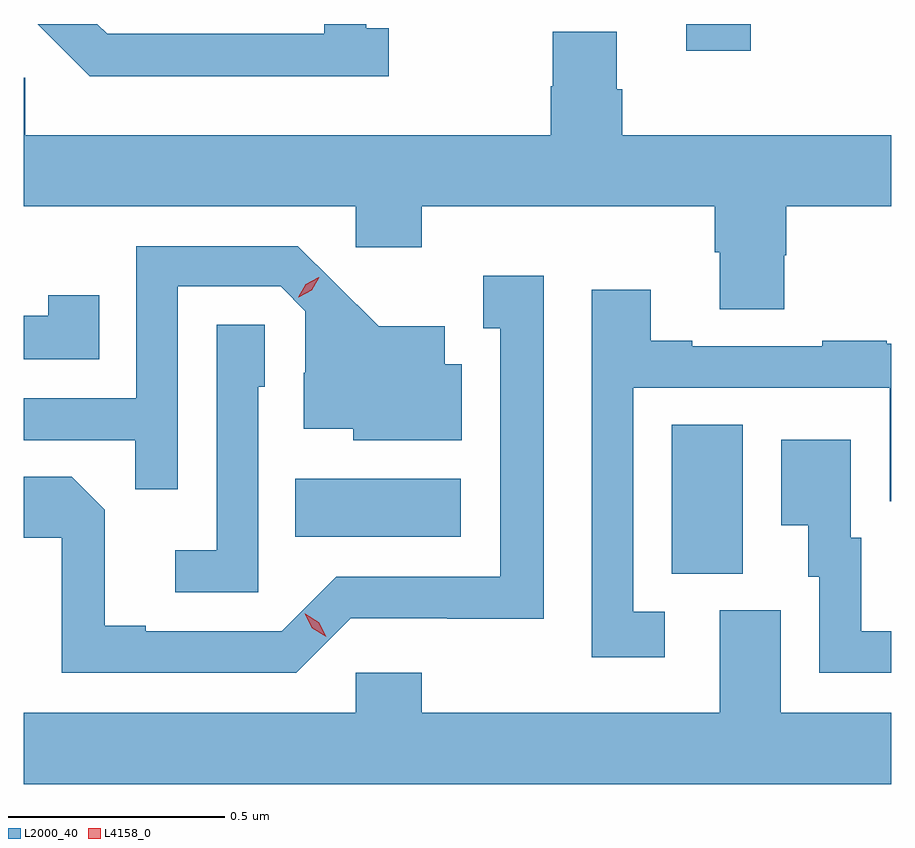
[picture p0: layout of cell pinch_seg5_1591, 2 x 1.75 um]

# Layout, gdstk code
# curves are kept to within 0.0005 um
import gdstk
lib = gdstk.Library(unit=1e-6, precision=1e-09)
def R(c, l, rs):  # rectangles x0, y0, x1, y1
    for r in rs: c.add(gdstk.rectangle(r[:2], r[2:], *l))
def P(c, l, *ps):  # polygons
    for p in ps: c.add(gdstk.Polygon(p, *l))
L2000_40 = (2000, 40)
L4158_0 = (4158, 0)

pinch_seg5_1591 = lib.new_cell('pinch_seg5_1591')
R(pinch_seg5_1591, L2000_40, [(301.406,854.581,301.57,854.924), (300.538,854.666,300.919,854.8), (301.439,855.786,301.588,855.848)])
P(pinch_seg5_1591, L2000_40, [(300.754,855.838),(300.702,855.838),(300.702,855.848),(300.605,855.848),(300.605,855.825),(300.105,855.825),(300.082,855.848),(299.944,855.848),(300.064,855.728),(300.754,855.728)],
  [(301.665,855.315),(301.67,855.315),(301.67,855.428),(301.912,855.428),(301.912,855.592),(301.292,855.592),(301.292,855.698),(301.279,855.698),(301.279,855.83),(301.132,855.83),(301.132,855.705),(301.127,855.705),(301.127,855.592),(299.916,855.592),(299.916,855.724),(299.912,855.724),(299.912,855.428),(300.678,855.428),(300.678,855.333),(300.83,855.333),(300.83,855.428),(301.505,855.428),(301.505,855.322),(301.517,855.322),(301.517,855.19),(301.665,855.19)],
  [(300.267,855.243),(300.504,855.243),(300.561,855.186),(300.561,855.044),(300.557,855.044),(300.557,854.915),(300.672,854.915),(300.672,854.888),(300.922,854.888),(300.922,855.064),(300.883,855.064),(300.883,855.151),(300.731,855.151),(300.544,855.336),(300.171,855.336),(300.171,854.985),(299.912,854.985),(299.912,854.889),(300.169,854.889),(300.169,854.776),(300.267,854.776)],
  [(300.666,854.478),(300.888,854.478),(300.888,854.477),(301.111,854.477),(301.111,855.268),(300.971,855.268),(300.971,855.147),(301.01,855.147),(301.01,854.574),(300.633,854.574),(300.507,854.448),(300.193,854.448),(300.193,854.461),(300.099,854.461),(300.099,854.728),(300.023,854.804),(299.912,854.804),(299.912,854.664),(300,854.664),(300,854.352),(300.54,854.352)],
  [(301.39,854.493),(301.317,854.493),(301.317,855.009),(301.908,855.009),(301.908,854.748),(301.912,854.748),(301.912,855.111),(301.901,855.111),(301.901,855.118),(301.753,855.118),(301.753,855.105),(301.453,855.105),(301.453,855.118),(301.357,855.118),(301.357,855.235),(301.221,855.235),(301.221,854.388),(301.39,854.388)],
  [(300.086,855.223),(299.968,855.223),(299.968,855.176),(299.912,855.176),(299.912,855.075),(300.086,855.075)],
  [(300.453,855.012),(300.468,855.012),(300.468,855.155),(300.357,855.155),(300.357,854.635),(300.261,854.635),(300.261,854.538),(300.453,854.538)],
  [(301.912,854.448),(301.843,854.448),(301.843,854.664),(301.819,854.664),(301.819,854.89),(301.658,854.89),(301.658,854.693),(301.721,854.693),(301.721,854.574),(301.746,854.574),(301.746,854.352),(301.912,854.352)],
  [(301.912,854.26),(301.657,854.26),(301.657,854.496),(301.517,854.496),(301.517,854.26),(300.83,854.26),(300.83,854.353),(300.678,854.353),(300.678,854.26),(299.912,854.26),(299.912,854.096),(301.912,854.096)])
P(pinch_seg5_1591, L4158_0, [(300.609,854.436),(300.577,854.455),(300.56,854.488),(300.56,854.488),(300.561,854.488),(300.592,854.469),(300.609,854.436),(300.609,854.436)],
  [(300.545,855.218),(300.545,855.218),(300.562,855.248),(300.592,855.264),(300.593,855.264),(300.593,855.264),(300.576,855.234),(300.546,855.218)])

lib.write_gds('pinch_seg5_1591.gds')
